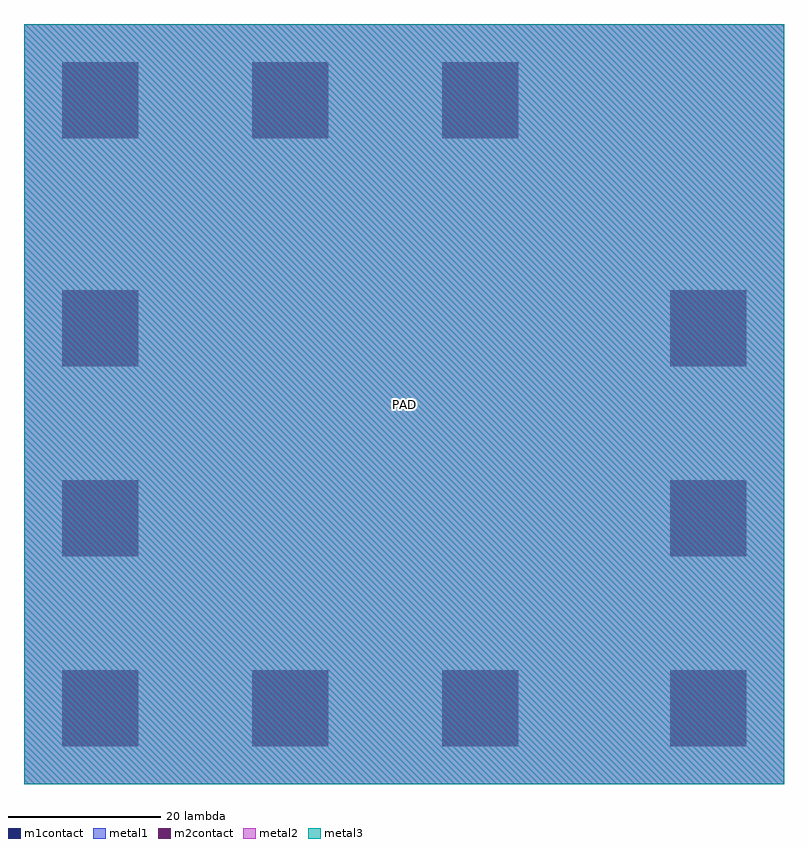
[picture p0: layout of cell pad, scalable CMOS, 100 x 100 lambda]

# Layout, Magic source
magic
tech scmos
<< metal1 >>
rect 10 10 110 110
<< metal2 >>
rect 10 10 110 110
<< metal3 >>
rect 10 10 110 110
<< m1contact >>
rect 15 15 25 25
rect 15 95 25 105
<< m2contact >>
rect 15 15 25 25
rect 15 95 25 105
<< m1contact >>
rect 40 15 50 25
rect 40 95 50 105
<< m2contact >>
rect 40 15 50 25
rect 40 95 50 105
<< m1contact >>
rect 65 15 75 25
rect 65 95 75 105
<< m2contact >>
rect 65 15 75 25
rect 65 95 75 105
<< m1contact >>
rect 15 15 25 25
rect 95 15 105 25
<< m2contact >>
rect 15 15 25 25
rect 95 15 105 25
<< m1contact >>
rect 15 40 25 50
rect 95 40 105 50
<< m2contact >>
rect 15 40 25 50
rect 95 40 105 50
<< m1contact >>
rect 15 65 25 75
rect 95 65 105 75
<< m2contact >>
rect 15 65 25 75
rect 95 65 105 75
<< labels >>
rlabel metal3 60 60 60 60 1 PAD
<< end >>
